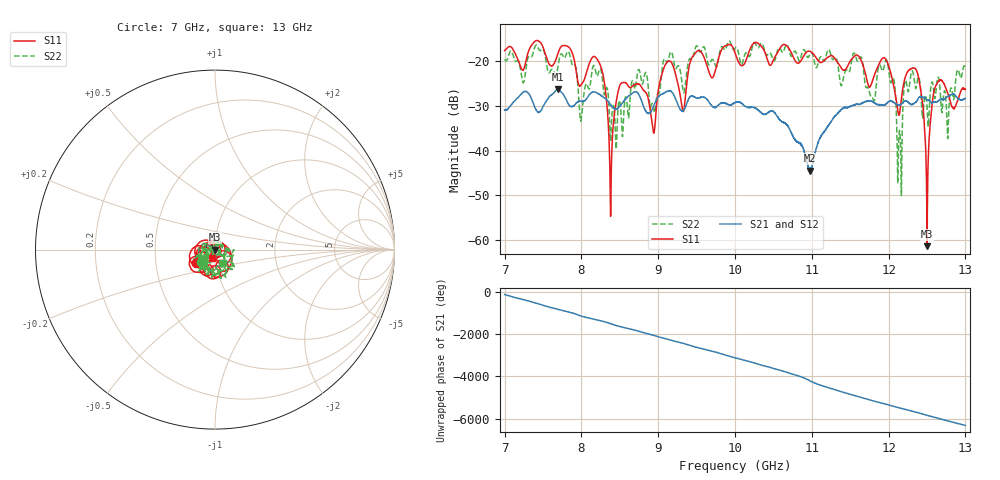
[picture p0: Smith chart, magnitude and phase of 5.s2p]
[Version] 2.0
! Rohde & Schwarz Vector Network Analyzer
! Rohde-Schwarz,ZNL20-2Port,1323001220200009,1.71.1.10-23.02.1.238
! Port Assignments:
! Nominal Port -> Actual Test Port
!  1 -> 1
!  2 -> 2
! Created: GMT+3 2024-09-24 16:03:22
# Hz S DB R 50
[Number of Ports] 2
[Two-Port Data Order] 21_12
! freq[Hz]  S11[mag dB]  S11[ang]  S21[mag dB]  S21[ang]  S12[mag dB]  S12[ang]  S22[mag dB]  S22[ang]
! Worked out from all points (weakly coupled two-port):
!   6001 points, 7 GHz to 13 GHz, reference 50 ohm
!   highest |S21| = -26.25 dB at 7.697 GHz (marker M1); lowest = -44.5 dB at 10.98 GHz (marker M2)
!   lowest |S11| = -61.4 dB at 12.5 GHz (marker M3), VSWR 1.00, Z = 50.1 + j0.0402 ohm
!   |S11| at or under -10 dB: start of sweep to end of sweep
!   |S22| runs from -50.1 to -15.4 dB; largest |S21 - S12| = 0.0011
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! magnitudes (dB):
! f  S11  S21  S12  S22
! 7 GHz  -17.6  -30.8  -30.7  -19.5
! 7.697 GHz  -18.1  -26.3  -26.2  -21.0
! 7.84 GHz  -16.8  -29.8  -29.8  -18.1
! 8 GHz  -25.1  -28.9  -28.9  -32.8
! 8.244 GHz  -20.8  -27.5  -27.5  -21.6
! 8.382 GHz  -53.6  -29.8  -29.9  -37.5
! 8.516 GHz  -24.9  -29.7  -29.7  -31.3
! 8.748 GHz  -25.1  -27.4  -27.5  -21.8
! 8.937 GHz  -35.8  -30.2  -30.3  -30.2
! 9 GHz  -26.6  -28.0  -27.9  -27.1
! 9.163 GHz  -20.1  -26.7  -26.6  -17.9
! 10 GHz  -18.1  -29.2  -29.2  -17.0
! 10.98 GHz  -17.7  -44.5  -44.2  -18.3
! 11 GHz  -18.0  -43.6  -43.6  -18.0
! 12 GHz  -21.0  -29.0  -28.9  -21.8
! 12.14 GHz  -31.8  -29.8  -29.7  -35.5
! 12.22 GHz  -23.6  -28.9  -29.0  -24.3
! 12.36 GHz  -21.9  -29.0  -29.1  -25.9
! 12.5 GHz  -61.4  -28.6  -28.6  -30.4
! 12.62 GHz  -25.1  -29.1  -29.1  -25.2
! 12.77 GHz  -27.2  -27.9  -27.8  -37.2
! 13 GHz  -26.3  -28.3  -28.4  -21.6
